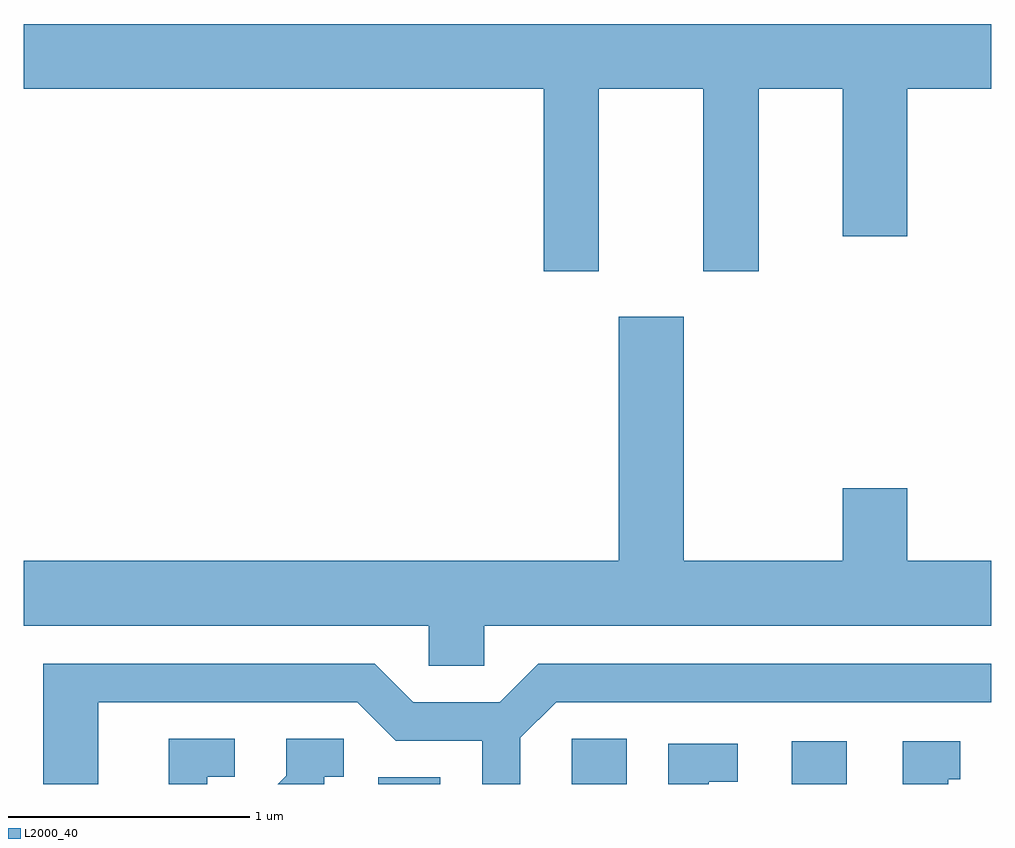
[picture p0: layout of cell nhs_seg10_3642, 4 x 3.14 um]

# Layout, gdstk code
import gdstk
lib = gdstk.Library(unit=1e-6, precision=1e-09)
def R(c, l, rs):  # rectangles x0, y0, x1, y1
    for r in rs: c.add(gdstk.rectangle(r[:2], r[2:], *l))
def P(c, l, *ps):  # polygons
    for p in ps: c.add(gdstk.Polygon(p, *l))
L2000_40 = (2000, 40)

nhs_seg10_3642 = lib.new_cell('nhs_seg10_3642')
R(nhs_seg10_3642, L2000_40, [(293.076,2186.522,293.334,2186.549), (293.876,2186.522,294.104,2186.709), (294.786,2186.522,295.014,2186.699)])
P(nhs_seg10_3642, L2000_40, [(293.989,2189.396),(294.421,2189.396),(294.421,2188.641),(294.649,2188.641),(294.649,2189.396),(294.996,2189.396),(294.996,2188.786),(295.264,2188.786),(295.264,2189.396),(295.611,2189.396),(295.611,2189.664),(291.611,2189.664),(291.611,2189.396),(293.761,2189.396),(293.761,2188.641),(293.989,2188.641)],
  [(293.514,2187.176),(295.611,2187.176),(295.611,2187.444),(295.264,2187.444),(295.264,2187.744),(294.996,2187.744),(294.996,2187.444),(294.339,2187.444),(294.339,2188.454),(294.071,2188.454),(294.071,2187.444),(291.611,2187.444),(291.611,2187.176),(293.286,2187.176),(293.286,2187.011),(293.514,2187.011)],
  [(291.919,2186.861),(292.989,2186.861),(293.149,2186.701),(293.506,2186.701),(293.506,2186.522),(293.664,2186.522),(293.664,2186.714),(293.812,2186.861),(295.611,2186.861),(295.611,2187.019),(293.739,2187.019),(293.579,2186.859),(293.222,2186.859),(293.062,2187.019),(291.691,2187.019),(291.691,2186.522),(291.919,2186.522)],
  [(292.369,2186.551),(292.483,2186.551),(292.483,2186.709),(292.211,2186.709),(292.211,2186.522),(292.369,2186.522)],
  [(292.854,2186.551),(292.933,2186.551),(292.933,2186.709),(292.696,2186.709),(292.696,2186.557),(292.661,2186.522),(292.854,2186.522)],
  [(295.434,2186.541),(295.483,2186.541),(295.483,2186.699),(295.246,2186.699),(295.246,2186.522),(295.434,2186.522)],
  [(294.444,2186.531),(294.563,2186.531),(294.563,2186.689),(294.276,2186.689),(294.276,2186.522),(294.444,2186.522)])

lib.write_gds('nhs_seg10_3642.gds')
